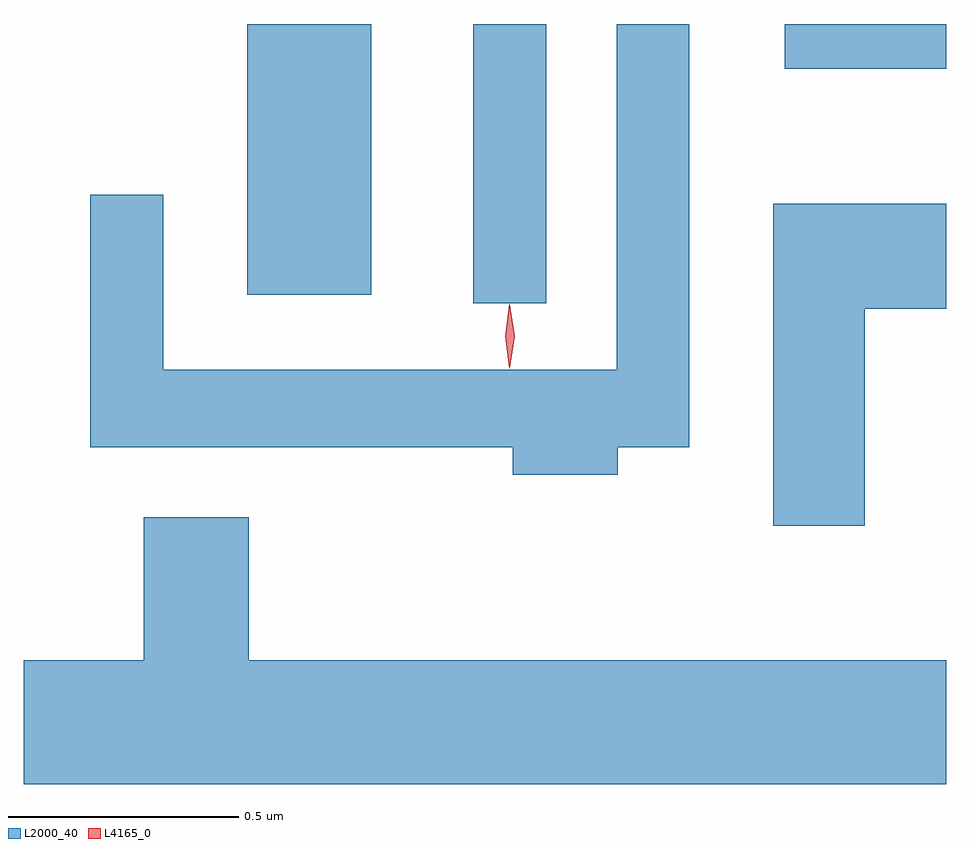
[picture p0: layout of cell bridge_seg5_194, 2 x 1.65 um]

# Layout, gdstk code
import gdstk
lib = gdstk.Library(unit=1e-6, precision=1e-09)
def R(c, l, rs):  # rectangles x0, y0, x1, y1
    for r in rs: c.add(gdstk.rectangle(r[:2], r[2:], *l))
def P(c, l, *ps):  # polygons
    for p in ps: c.add(gdstk.Polygon(p, *l))
L2000_40 = (2000, 40)
L4165_0 = (4165, 0)

bridge_seg5_194 = lib.new_cell('bridge_seg5_194')
R(bridge_seg5_194, L2000_40, [(1231.406,1420.098,1231.564,1420.703), (1230.916,1420.116,1231.184,1420.703), (1232.081,1420.606,1232.431,1420.703)])
P(bridge_seg5_194, L2000_40, [(1231.719,1419.786),(1231.874,1419.786),(1231.874,1420.703),(1231.716,1420.703),(1231.716,1419.954),(1230.734,1419.954),(1230.734,1420.333),(1230.576,1420.333),(1230.576,1419.786),(1231.491,1419.786),(1231.491,1419.726),(1231.719,1419.726)],
  [(1232.254,1420.086),(1232.431,1420.086),(1232.431,1420.314),(1232.056,1420.314),(1232.056,1419.616),(1232.254,1419.616)],
  [(1232.431,1419.324),(1230.919,1419.324),(1230.919,1419.634),(1230.691,1419.634),(1230.691,1419.324),(1230.431,1419.324),(1230.431,1419.056),(1232.431,1419.056)])
P(bridge_seg5_194, L4165_0, [(1231.484,1419.957),(1231.475,1420.026),(1231.484,1420.096),(1231.485,1420.096),(1231.485,1420.096),(1231.495,1420.026),(1231.485,1419.957),(1231.485,1419.957)])

lib.write_gds('bridge_seg5_194.gds')
